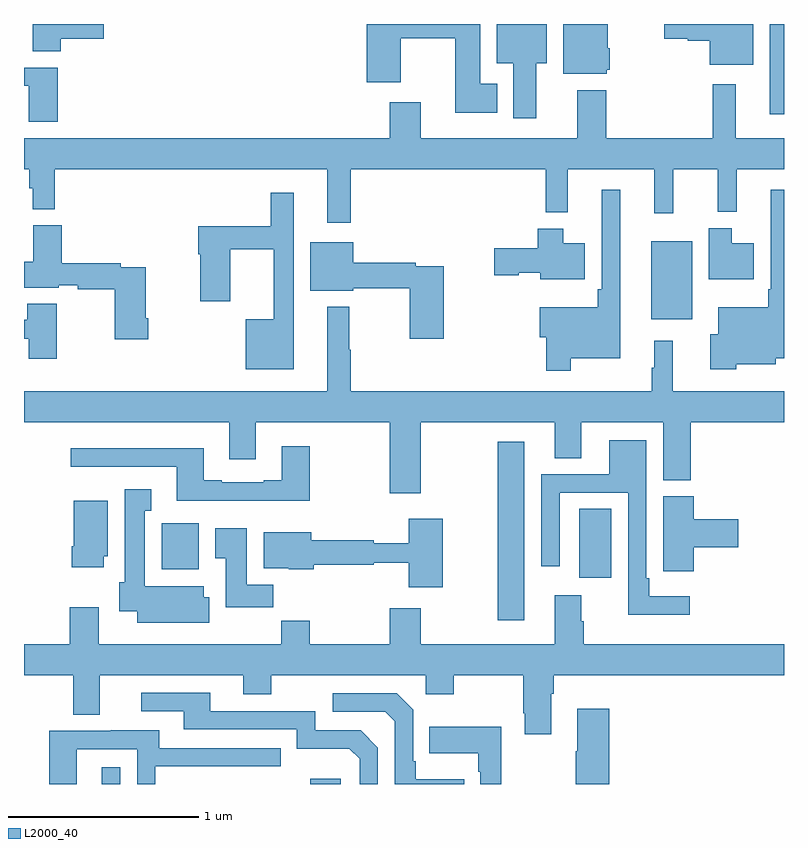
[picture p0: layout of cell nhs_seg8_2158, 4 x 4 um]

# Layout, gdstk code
import gdstk
lib = gdstk.Library(unit=1e-6, precision=1e-09)
def R(c, l, rs):  # rectangles x0, y0, x1, y1
    for r in rs: c.add(gdstk.rectangle(r[:2], r[2:], *l))
def P(c, l, *ps):  # polygons
    for p in ps: c.add(gdstk.Polygon(p, *l))
L2000_40 = (2000, 40)

nhs_seg8_2158 = lib.new_cell('nhs_seg8_2158')
R(nhs_seg8_2158, L2000_40, [(247.409,1143.9,247.506,1143.988), (248.507,1143.9,248.668,1143.928), (249.493,1144.761,249.634,1145.701), (249.923,1144.986,250.09,1145.348), (247.724,1145.03,247.921,1145.272), (250.301,1146.347,250.516,1146.757), (250.925,1147.425,251,1147.9)])
P(nhs_seg8_2158, L2000_40, [(247.193,1147.823),(247.42,1147.823),(247.42,1147.9),(247.046,1147.9),(247.046,1147.756),(247.193,1147.756)],
  [(250.068,1147.659),(250.084,1147.659),(250.084,1147.773),(250.072,1147.773),(250.072,1147.9),(249.839,1147.9),(249.839,1147.637),(250.068,1147.637)],
  [(249.697,1147.694),(249.751,1147.694),(249.751,1147.9),(249.488,1147.9),(249.488,1147.694),(249.575,1147.694),(249.575,1147.404),(249.697,1147.404)],
  [(249.49,1147.585),(249.4,1147.585),(249.4,1147.9),(248.804,1147.9),(248.804,1147.593),(248.982,1147.593),(248.982,1147.824),(249.271,1147.824),(249.271,1147.433),(249.49,1147.433)],
  [(250.837,1147.9),(250.37,1147.9),(250.37,1147.823),(250.494,1147.823),(250.494,1147.811),(250.61,1147.811),(250.61,1147.685),(250.837,1147.685)],
  [(247.178,1147.671),(247,1147.671),(247,1147.575),(247.025,1147.575),(247.025,1147.386),(247.178,1147.386)],
  [(248.719,1147.136),(249.745,1147.136),(249.745,1146.908),(249.863,1146.908),(249.863,1147.136),(250.316,1147.136),(250.316,1146.903),(250.416,1146.903),(250.416,1147.136),(250.651,1147.136),(250.651,1146.911),(250.751,1146.911),(250.751,1147.136),(251,1147.136),(251,1147.3),(250.747,1147.3),(250.747,1147.582),(250.626,1147.582),(250.626,1147.3),(250.064,1147.3),(250.064,1147.552),(249.911,1147.552),(249.911,1147.3),(249.088,1147.3),(249.088,1147.489),(248.924,1147.489),(248.924,1147.3),(247,1147.3),(247,1147.136),(247.027,1147.136),(247.027,1147.035),(247.047,1147.035),(247.047,1146.926),(247.163,1146.926),(247.163,1147.136),(248.597,1147.136),(248.597,1146.855),(248.719,1146.855)],
  [(250.749,1146.11),(250.957,1146.11),(250.957,1146.14),(251,1146.14),(251,1147.027),(250.929,1147.027),(250.929,1146.505),(250.917,1146.505),(250.917,1146.409),(250.655,1146.409),(250.655,1146.268),(250.613,1146.268),(250.613,1146.083),(250.749,1146.083)],
  [(249.877,1146.14),(250.138,1146.14),(250.138,1147.027),(250.041,1147.027),(250.041,1146.505),(250.021,1146.505),(250.021,1146.409),(249.714,1146.409),(249.714,1146.251),(249.748,1146.251),(249.748,1146.075),(249.877,1146.075)],
  [(248.419,1147.012),(248.298,1147.012),(248.298,1146.835),(247.916,1146.835),(247.916,1146.689),(247.928,1146.689),(247.928,1146.441),(248.086,1146.441),(248.086,1146.714),(248.315,1146.714),(248.315,1146.346),(248.168,1146.346),(248.168,1146.083),(248.419,1146.083)],
  [(247.655,1146.352),(247.642,1146.352),(247.642,1146.621),(247.508,1146.621),(247.508,1146.641),(247.199,1146.641),(247.199,1146.841),(247.049,1146.841),(247.049,1146.65),(247,1146.65),(247,1146.512),(247.182,1146.512),(247.182,1146.525),(247.282,1146.525),(247.282,1146.505),(247.477,1146.505),(247.477,1146.24),(247.655,1146.24)],
  [(250.84,1146.745),(250.726,1146.745),(250.726,1146.826),(250.604,1146.826),(250.604,1146.557),(250.84,1146.557)],
  [(249.952,1146.745),(249.838,1146.745),(249.838,1146.823),(249.704,1146.823),(249.704,1146.72),(249.474,1146.72),(249.474,1146.578),(249.603,1146.578),(249.603,1146.59),(249.716,1146.59),(249.716,1146.557),(249.952,1146.557)],
  [(249.209,1146.624),(249.062,1146.624),(249.062,1146.644),(248.734,1146.644),(248.734,1146.751),(248.507,1146.751),(248.507,1146.497),(248.734,1146.497),(248.734,1146.508),(249.031,1146.508),(249.031,1146.243),(249.209,1146.243)],
  [(247.173,1146.427),(247.018,1146.427),(247.018,1146.343),(247,1146.343),(247,1146.243),(247.025,1146.243),(247.025,1146.138),(247.173,1146.138)],
  [(249.088,1145.804),(249.794,1145.804),(249.794,1145.614),(249.934,1145.614),(249.934,1145.804),(250.364,1145.804),(250.364,1145.5),(250.508,1145.5),(250.508,1145.804),(251,1145.804),(251,1145.968),(250.415,1145.968),(250.415,1146.232),(250.316,1146.232),(250.316,1146.092),(250.305,1146.092),(250.305,1145.968),(248.719,1145.968),(248.719,1146.185),(248.711,1146.185),(248.711,1146.412),(248.597,1146.412),(248.597,1145.968),(247,1145.968),(247,1145.804),(248.081,1145.804),(248.081,1145.61),(248.221,1145.61),(248.221,1145.804),(248.924,1145.804),(248.924,1145.43),(249.088,1145.43)],
  [(250.504,1144.888),(250.291,1144.888),(250.291,1144.984),(250.275,1144.984),(250.275,1145.71),(250.079,1145.71),(250.079,1145.529),(249.723,1145.529),(249.723,1145.046),(249.819,1145.046),(249.819,1145.433),(250.179,1145.433),(250.179,1144.79),(250.504,1144.79)],
  [(248.505,1145.677),(248.357,1145.677),(248.357,1145.5),(248.261,1145.5),(248.261,1145.487),(248.041,1145.487),(248.041,1145.5),(247.945,1145.5),(247.945,1145.668),(247.245,1145.668),(247.245,1145.571),(247.805,1145.571),(247.805,1145.39),(248.505,1145.39)],
  [(247.975,1144.883),(247.945,1144.883),(247.945,1144.942),(247.636,1144.942),(247.636,1145.339),(247.669,1145.339),(247.669,1145.452),(247.529,1145.452),(247.529,1144.962),(247.502,1144.962),(247.502,1144.808),(247.595,1144.808),(247.595,1144.748),(247.975,1144.748)],
  [(250.526,1145.147),(250.759,1145.147),(250.759,1145.294),(250.526,1145.294),(250.526,1145.415),(250.364,1145.415),(250.364,1145.131),(250.365,1145.131),(250.365,1145.019),(250.526,1145.019)],
  [(247.42,1145.1),(247.441,1145.1),(247.441,1145.392),(247.262,1145.392),(247.262,1145.152),(247.25,1145.152),(247.25,1145.04),(247.42,1145.04)],
  [(249.204,1145.296),(249.026,1145.296),(249.026,1145.168),(248.842,1145.168),(248.842,1145.183),(248.512,1145.183),(248.512,1145.224),(248.261,1145.224),(248.261,1145.036),(248.394,1145.036),(248.394,1145.03),(248.525,1145.03),(248.525,1145.055),(248.842,1145.055),(248.842,1145.065),(249.026,1145.065),(249.026,1144.935),(249.204,1144.935)],
  [(248.312,1144.948),(248.173,1144.948),(248.173,1145.245),(248.006,1145.245),(248.006,1145.089),(248.063,1145.089),(248.063,1144.83),(248.312,1144.83)],
  [(249.775,1144.376),(249.788,1144.376),(249.788,1144.472),(251,1144.472),(251,1144.636),(249.947,1144.636),(249.947,1144.757),(249.934,1144.757),(249.934,1144.894),(249.794,1144.894),(249.794,1144.636),(249.088,1144.636),(249.088,1144.825),(248.924,1144.825),(248.924,1144.636),(248.505,1144.636),(248.505,1144.76),(248.353,1144.76),(248.353,1144.636),(247.393,1144.636),(247.393,1144.831),(247.241,1144.831),(247.241,1144.636),(247,1144.636),(247,1144.472),(247.259,1144.472),(247.259,1144.264),(247.399,1144.264),(247.399,1144.472),(248.153,1144.472),(248.153,1144.373),(248.301,1144.373),(248.301,1144.472),(249.114,1144.472),(249.114,1144.373),(249.261,1144.373),(249.261,1144.472),(249.628,1144.472),(249.628,1144.273),(249.635,1144.273),(249.635,1144.161),(249.775,1144.161)],
  [(248.862,1144.092),(248.772,1144.182),(248.532,1144.182),(248.532,1144.284),(247.981,1144.284),(247.981,1144.38),(247.617,1144.38),(247.617,1144.284),(247.841,1144.284),(247.841,1144.188),(248.436,1144.188),(248.436,1144.085),(248.713,1144.085),(248.766,1144.032),(248.766,1143.9),(248.862,1143.9)],
  [(249.317,1143.925),(249.061,1143.925),(249.061,1144.021),(249.048,1144.021),(249.048,1144.29),(248.961,1144.377),(248.625,1144.377),(248.625,1144.281),(248.901,1144.281),(248.952,1144.23),(248.952,1143.9),(249.317,1143.9)],
  [(250.079,1144.297),(249.911,1144.297),(249.911,1144.073),(249.904,1144.073),(249.904,1143.9),(250.079,1143.9)],
  [(249.511,1144.201),(249.133,1144.201),(249.133,1144.061),(249.39,1144.061),(249.39,1143.965),(249.402,1143.965),(249.402,1143.9),(249.511,1143.9)],
  [(247.278,1144.083),(247.596,1144.083),(247.596,1143.9),(247.692,1143.9),(247.692,1143.993),(248.351,1143.993),(248.351,1144.089),(247.711,1144.089),(247.711,1144.183),(247.457,1144.183),(247.457,1144.179),(247.133,1144.179),(247.133,1143.9),(247.278,1143.9)])

lib.write_gds('nhs_seg8_2158.gds')
